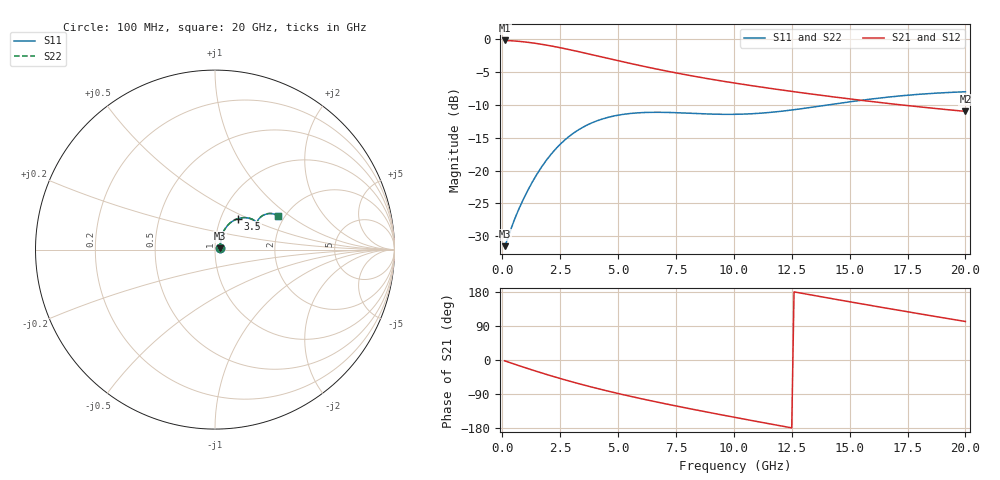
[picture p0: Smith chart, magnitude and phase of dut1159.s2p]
! Touchstone file exported from HFSS 2024.1.0
!  File:  C:/UserFiles/LocalFiles/RDL_TSV_Batchsim/temp_RDL_TSV_1159_1780120097.aedt
!  Generated:  02:06:49 PM May 30, 2026
!  Design:  RDL_TSV
!  Project:  temp_RDL_TSV_1159_1780120097
!  Setup:  Setup1
!  Solution:  Sweep
! Variables:
!  dtsv = 8.85um
!  hbump = 3um
!  htsv = 80.6um
!  ldown = 470.57um
!  lrdl = 594.76um
!  p = 40
!  p1 = 42.85um
!  rhole = 10um
!  subl = 3790.75um
!  t = 450um
!  tdown = 2.03um
!  trdl = 4.63um
!  viad = 10um
!  wdown = 20.92um
!  wrdl = 13.09um
!  xbump = 18um
# GHz S MA R 50.000000
! Terminal data exported
! Port[1] = TM1_1_T1
! Port[2] = TM1_4_T1
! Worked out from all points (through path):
!   200 points, 100 MHz to 20 GHz, reference 50 ohm
!   highest |S21| = -0.23 dB at 100 MHz (marker M1); lowest = -11.0 dB at 20 GHz (marker M2)
!   group delay of S21, straight-line fit = 34.2 ps
!   lowest |S11| = -31.5 dB at 100 MHz (marker M3), VSWR 1.05, Z = 52.7 + j0.665 ohm
!   |S11| at or under -10 dB: start of sweep to 14.12 GHz
!   |S22| runs from -31.5 to -8.0 dB; largest |S21 - S12| = 9.9e-15
!   S11 on the Smith chart (normalised r, x): 100 MHz: 1.05, +0.01; 3.5 GHz: 1.21, +0.44; 20 GHz: 1.84, +0.82
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0.1  0.02665 13.7  0.9739 -2.1  0.9739 -2.1  0.02664 13.7
! Gamma 0 0 0 0
! Port Impedance 50 0 50 0
0.5  0.04126 44.8  0.9659 -10.5  0.9659 -10.5  0.04126 44.8
0.8  0.05506 54.7  0.956 -16.6  0.956 -16.6  0.05506 54.7
1.2  0.07623 61.8  0.9385 -24.5  0.9385 -24.5  0.07624 61.8
1.7  0.1067 64.6  0.9108 -34.2  0.9108 -34.2  0.1067 64.7
2.1  0.1326 64.0  0.8854 -41.6  0.8854 -41.6  0.1327 64.0
2.6  0.1646 61.1  0.8509 -50.6  0.8509 -50.6  0.1647 61.1
3  0.1883 57.9  0.8222 -57.4  0.8222 -57.4  0.1885 57.9
3.5  0.2143 53.4  0.786 -65.7  0.786 -65.7  0.2146 53.5
4.2  0.2426 47.2  0.7365 -76.6  0.7365 -76.6  0.2429 47.3
5.1  0.2653 40.0  0.6774 -89.8  0.6774 -89.8  0.2657 40.1
5.9  0.2749 34.9  0.6304 -100.8  0.6304 -100.8  0.2753 35.0
6.8  0.2772 30.9  0.5839 -112.5  0.5839 -112.5  0.2777 31.0
7.6  0.2749 28.7  0.5479 -122.5  0.5479 -122.5  0.2755 28.8
8.4  0.2711 27.8  0.5162 -132.2  0.5162 -132.2  0.2717 27.9
10.1  0.2677 29.4  0.4603 -152.1  0.4603 -152.1  0.2684 29.5
11.7  0.278 32.8  0.4179 -170.2  0.4179 -170.2  0.2788 32.9
13.4  0.3032 35.2  0.3804 171.0  0.3804 171.0  0.304 35.3
15.1  0.3346 35.3  0.3486 152.6  0.3486 152.6  0.3356 35.4
16.7  0.362 33.6  0.323 135.6  0.323 135.6  0.3632 33.7
18.3  0.3831 31.1  0.3012 119.0  0.3012 119.0  0.3844 31.2
20  0.3968 28.3  0.2817 101.6  0.2817 101.6  0.3983 28.4
